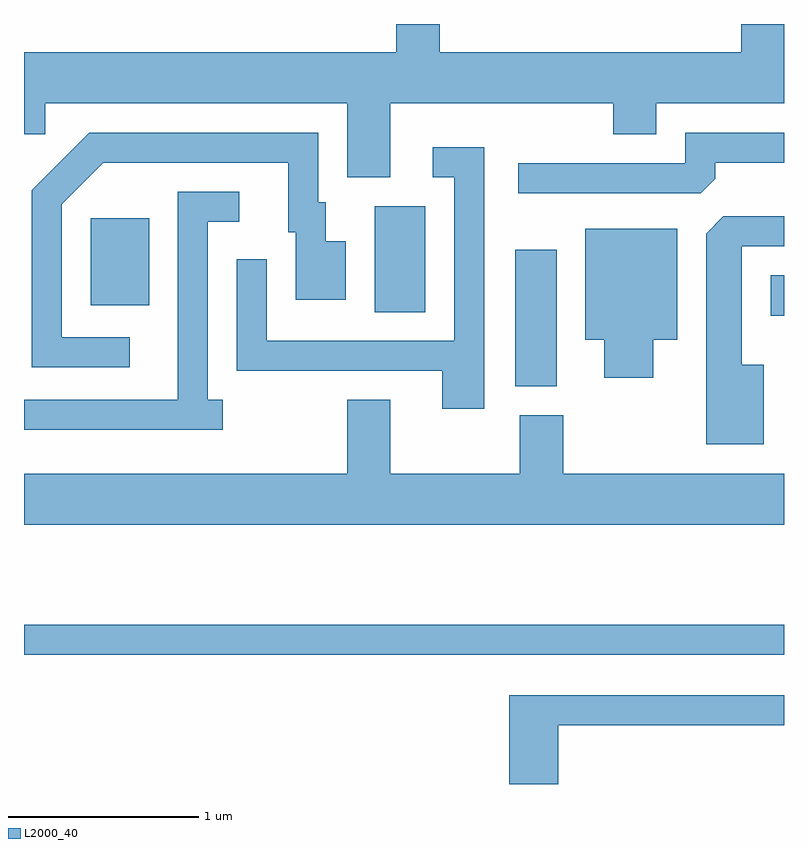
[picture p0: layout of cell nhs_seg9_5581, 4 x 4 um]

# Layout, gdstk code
import gdstk
lib = gdstk.Library(unit=1e-6, precision=1e-09)
def R(c, l, rs):  # rectangles x0, y0, x1, y1
    for r in rs: c.add(gdstk.rectangle(r[:2], r[2:], *l))
def P(c, l, *ps):  # polygons
    for p in ps: c.add(gdstk.Polygon(p, *l))
L2000_40 = (2000, 40)

nhs_seg9_5581 = lib.new_cell('nhs_seg9_5581')
R(nhs_seg9_5581, L2000_40, [(349.611,2011.111,353.611,2011.269), (352.196,2012.526,352.414,2013.244), (353.541,2012.896,353.611,2013.109), (351.456,2012.916,351.724,2013.474), (349.961,2012.951,350.269,2013.409)])
P(nhs_seg9_5581, L2000_40, [(351.539,2014.016),(352.711,2014.016),(352.711,2013.851),(352.939,2013.851),(352.939,2014.016),(353.611,2014.016),(353.611,2014.432),(353.386,2014.432),(353.386,2014.284),(351.799,2014.284),(351.799,2014.432),(351.571,2014.432),(351.571,2014.284),(349.611,2014.284),(349.611,2013.851),(349.724,2013.851),(349.724,2014.016),(351.311,2014.016),(351.311,2013.626),(351.539,2013.626)],
  [(353.249,2013.617),(353.249,2013.701),(353.611,2013.701),(353.611,2013.859),(353.091,2013.859),(353.091,2013.699),(352.213,2013.699),(352.213,2013.541),(353.174,2013.541)],
  [(350.168,2012.784),(349.809,2012.784),(349.809,2013.484),(350.027,2013.701),(351.001,2013.701),(351.001,2013.336),(351.041,2013.336),(351.041,2012.981),(351.304,2012.981),(351.304,2013.289),(351.199,2013.289),(351.199,2013.494),(351.159,2013.494),(351.159,2013.859),(349.954,2013.859),(349.651,2013.557),(349.651,2012.626),(350.168,2012.626)],
  [(352.034,2013.784),(351.763,2013.784),(351.763,2013.626),(351.876,2013.626),(351.876,2012.764),(350.889,2012.764),(350.889,2013.193),(350.731,2013.193),(350.731,2012.606),(351.811,2012.606),(351.811,2012.406),(352.034,2012.406)],
  [(350.658,2012.454),(350.579,2012.454),(350.579,2013.391),(350.743,2013.391),(350.743,2013.549),(350.421,2013.549),(350.421,2012.454),(349.611,2012.454),(349.611,2012.296),(350.658,2012.296)],
  [(353.504,2012.639),(353.389,2012.639),(353.389,2013.261),(353.611,2013.261),(353.611,2013.419),(353.292,2013.419),(353.201,2013.329),(353.201,2012.221),(353.504,2012.221)],
  [(352.924,2012.771),(353.049,2012.771),(353.049,2013.354),(352.566,2013.354),(352.566,2012.771),(352.666,2012.771),(352.666,2012.571),(352.924,2012.571)],
  [(353.611,2012.064),(352.449,2012.064),(352.449,2012.374),(352.221,2012.374),(352.221,2012.064),(351.539,2012.064),(351.539,2012.454),(351.311,2012.454),(351.311,2012.064),(349.611,2012.064),(349.611,2011.796),(353.611,2011.796)],
  [(352.424,2010.741),(353.611,2010.741),(353.611,2010.899),(352.166,2010.899),(352.166,2010.432),(352.424,2010.432)])

lib.write_gds('nhs_seg9_5581.gds')
